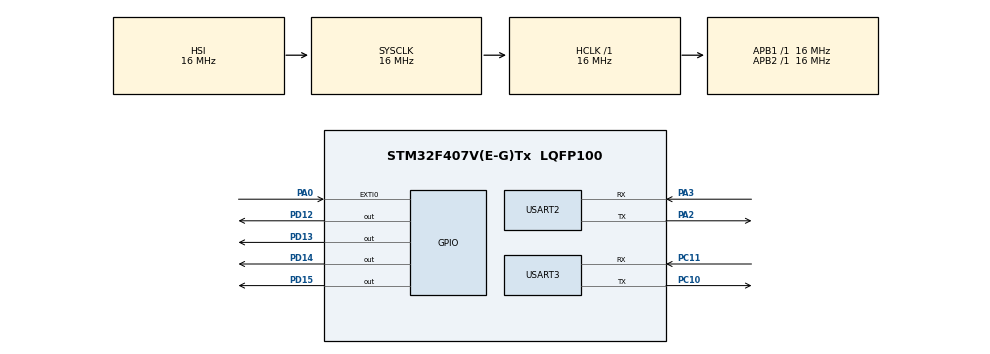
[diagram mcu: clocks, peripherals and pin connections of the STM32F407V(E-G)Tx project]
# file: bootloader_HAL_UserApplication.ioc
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Mcu.Family=STM32F4
Mcu.Name=STM32F407V(E-G)Tx
Mcu.Package=LQFP100
NVIC.EXTI0_IRQn=true\:0\:0\:false\:false\:true\:true\:true\:true
NVIC.PriorityGroup=NVIC_PRIORITYGROUP_4
PA0-WKUP.Signal=GPXTI0
PA2.Mode=Asynchronous
PA2.Signal=USART2_TX
PA3.Mode=Asynchronous
PA3.Signal=USART2_RX
PC10.Mode=Asynchronous
PC10.Signal=USART3_TX
PC11.Mode=Asynchronous
PC11.Signal=USART3_RX
PD12.Signal=GPIO_Output
PD13.Signal=GPIO_Output
PD14.Signal=GPIO_Output
PD15.Signal=GPIO_Output
ProjectManager.HeapSize=0x200
ProjectManager.StackSize=0x400
ProjectManager.TargetToolchain=STM32CubeIDE
RCC.AHBFreq_Value=16000000
RCC.APB1Freq_Value=16000000
RCC.APB2Freq_Value=16000000
RCC.CortexFreq_Value=16000000
RCC.HSE_VALUE=25000000
RCC.HSI_VALUE=16000000
RCC.LSE_VALUE=32768
RCC.SYSCLKFreq_VALUE=16000000
RCC.VCOOutputFreq_Value=192000000
USART2.VirtualMode=VM_ASYNC
USART3.VirtualMode=VM_ASYNC
VP_CRC_VS_CRC.Mode=CRC_Activate
board=custom

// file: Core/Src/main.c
/* USER CODE BEGIN Header */
/**
  ******************************************************************************
  * @file           : main.c
  * @brief          : Main program body
  ******************************************************************************
  * @attention
  *
  * Copyright (c) 2022 STMicroelectronics.
  * All rights reserved.
  *
  * This software is licensed under terms that can be found in the LICENSE file
  * in the root directory of this software component.
  * If no LICENSE file comes with this software, it is provided AS-IS.
  *
  ******************************************************************************
  */
/* USER CODE END Header */
#include "main.h"

/* USER CODE BEGIN Includes */
#include "string.h"
#include "stdio.h"
#include "stdarg.h"
/* USER CODE END Includes */

 CRC_HandleTypeDef hcrc;

UART_HandleTypeDef huart2;
UART_HandleTypeDef huart3;

void SystemClock_Config(void);
static void MX_GPIO_Init(void);
static void MX_CRC_Init(void);
static void MX_USART2_UART_Init(void);
static void MX_USART3_UART_Init(void);
/* USER CODE BEGIN PFP */

void printMessages(char *format, ...);
/* USER CODE END PFP */

/* USER CODE BEGIN 0 */
void printMessages(char *format, ...)
{
	char comingMessage[100];

	va_list vaList;
	va_start(vaList, format);
	vsprintf(comingMessage, format, vaList);
	HAL_UART_Transmit(&huart2, (uint8_t*)comingMessage, strlen(comingMessage), 100);
	va_end(vaList);
}

void HAL_GPIO_EXTI_Callback(uint16_t GPIO_Pin)
{
	if(GPIO_Pin == GPIO_PIN_0)
	{

	}
}

/* USER CODE END 0 */

int main(void)
{

  /* MCU Configuration--------------------------------------------------------*/

  /* Reset of all peripherals, Initializes the Flash interface and the Systick. */
  HAL_Init();

  /* Configure the system clock */
  SystemClock_Config();

  /* Initialize all configured peripherals */
  MX_GPIO_Init();
  MX_CRC_Init();
  MX_USART2_UART_Init();
  MX_USART3_UART_Init();

  /* Infinite loop */
  /* USER CODE BEGIN WHILE */
  while (1)
  {
	  printMessages("BL USER APP MSG: Hello from the bootloader User Application\r\n");
	  HAL_Delay(1000);
    /* USER CODE END WHILE */

  }
}

void SystemClock_Config(void)
{
  RCC_OscInitTypeDef RCC_OscInitStruct = {0};
  RCC_ClkInitTypeDef RCC_ClkInitStruct = {0};

  /** Configure the main internal regulator output voltage
  */
  __HAL_RCC_PWR_CLK_ENABLE();
  __HAL_PWR_VOLTAGESCALING_CONFIG(PWR_REGULATOR_VOLTAGE_SCALE1);

  /** Initializes the RCC Oscillators according to the specified parameters
  * in the RCC_OscInitTypeDef structure.
  */
  RCC_OscInitStruct.OscillatorType = RCC_OSCILLATORTYPE_HSI;
  RCC_OscInitStruct.HSIState = RCC_HSI_ON;
  RCC_OscInitStruct.HSICalibrationValue = RCC_HSICALIBRATION_DEFAULT;
  RCC_OscInitStruct.PLL.PLLState = RCC_PLL_NONE;
  if (HAL_RCC_OscConfig(&RCC_OscInitStruct) != HAL_OK)
  {
    Error_Handler();
  }

  /** Initializes the CPU, AHB and APB buses clocks
  */
  RCC_ClkInitStruct.ClockType = RCC_CLOCKTYPE_HCLK|RCC_CLOCKTYPE_SYSCLK
                              |RCC_CLOCKTYPE_PCLK1|RCC_CLOCKTYPE_PCLK2;
  RCC_ClkInitStruct.SYSCLKSource = RCC_SYSCLKSOURCE_HSI;
  RCC_ClkInitStruct.AHBCLKDivider = RCC_SYSCLK_DIV1;
  RCC_ClkInitStruct.APB1CLKDivider = RCC_HCLK_DIV1;
  RCC_ClkInitStruct.APB2CLKDivider = RCC_HCLK_DIV1;

  if (HAL_RCC_ClockConfig(&RCC_ClkInitStruct, FLASH_LATENCY_0) != HAL_OK)
  {
    Error_Handler();
  }
}

static void MX_CRC_Init(void)
{

  hcrc.Instance = CRC;
  if (HAL_CRC_Init(&hcrc) != HAL_OK)
  {
    Error_Handler();
  }

}

static void MX_USART2_UART_Init(void)
{

  huart2.Instance = USART2;
  huart2.Init.BaudRate = 115200;
  huart2.Init.WordLength = UART_WORDLENGTH_8B;
  huart2.Init.StopBits = UART_STOPBITS_1;
  huart2.Init.Parity = UART_PARITY_NONE;
  huart2.Init.Mode = UART_MODE_TX_RX;
  huart2.Init.HwFlowCtl = UART_HWCONTROL_NONE;
  huart2.Init.OverSampling = UART_OVERSAMPLING_16;
  if (HAL_UART_Init(&huart2) != HAL_OK)
  {
    Error_Handler();
  }

}

static void MX_USART3_UART_Init(void)
{

  huart3.Instance = USART3;
  huart3.Init.BaudRate = 115200;
  huart3.Init.WordLength = UART_WORDLENGTH_8B;
  huart3.Init.StopBits = UART_STOPBITS_1;
  huart3.Init.Parity = UART_PARITY_NONE;
  huart3.Init.Mode = UART_MODE_TX_RX;
  huart3.Init.HwFlowCtl = UART_HWCONTROL_NONE;
  huart3.Init.OverSampling = UART_OVERSAMPLING_16;
  if (HAL_UART_Init(&huart3) != HAL_OK)
  {
    Error_Handler();
  }

}

static void MX_GPIO_Init(void)
{
  GPIO_InitTypeDef GPIO_InitStruct = {0};

  /* GPIO Ports Clock Enable */
  __HAL_RCC_GPIOA_CLK_ENABLE();
  __HAL_RCC_GPIOD_CLK_ENABLE();
  __HAL_RCC_GPIOC_CLK_ENABLE();

  /*Configure GPIO pin Output Level */
  HAL_GPIO_WritePin(GPIOD, GPIO_PIN_12|GPIO_PIN_13|GPIO_PIN_14|GPIO_PIN_15, GPIO_PIN_RESET);

  /*Configure GPIO pin : PA0 */
  GPIO_InitStruct.Pin = GPIO_PIN_0;
  GPIO_InitStruct.Mode = GPIO_MODE_IT_RISING;
  GPIO_InitStruct.Pull = GPIO_NOPULL;
  HAL_GPIO_Init(GPIOA, &GPIO_InitStruct);

  /*Configure GPIO pins : PD12 PD13 PD14 PD15 */
  GPIO_InitStruct.Pin = GPIO_PIN_12|GPIO_PIN_13|GPIO_PIN_14|GPIO_PIN_15;
  GPIO_InitStruct.Mode = GPIO_MODE_OUTPUT_PP;
  GPIO_InitStruct.Pull = GPIO_NOPULL;
  GPIO_InitStruct.Speed = GPIO_SPEED_FREQ_LOW;
  HAL_GPIO_Init(GPIOD, &GPIO_InitStruct);

  /* EXTI interrupt init*/
  HAL_NVIC_SetPriority(EXTI0_IRQn, 0, 0);
  HAL_NVIC_EnableIRQ(EXTI0_IRQn);

}

void Error_Handler(void)
{
  __disable_irq();
  while (1)
  {
  }
}
